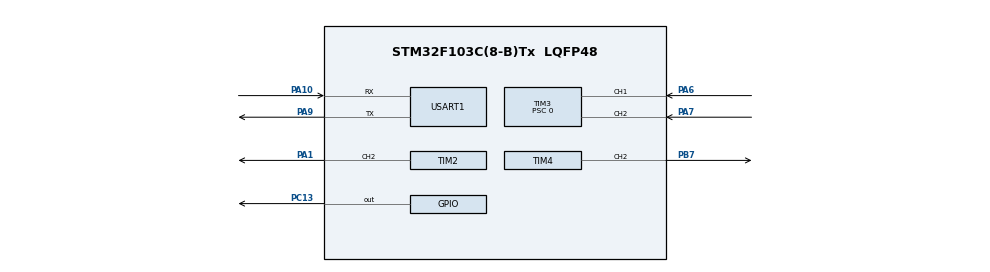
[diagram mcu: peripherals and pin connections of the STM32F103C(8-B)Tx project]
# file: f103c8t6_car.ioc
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Dma.Request0=TIM4_CH2
Dma.Request1=USART1_RX
Dma.Request2=TIM2_CH2/CH4
Dma.TIM2_CH2/CH4.2.Direction=DMA_MEMORY_TO_PERIPH
Dma.TIM2_CH2/CH4.2.Instance=DMA1_Channel7
Dma.TIM2_CH2/CH4.2.MemDataAlignment=DMA_MDATAALIGN_BYTE
Dma.TIM2_CH2/CH4.2.MemInc=DMA_MINC_ENABLE
Dma.TIM2_CH2/CH4.2.Mode=DMA_NORMAL
Dma.TIM2_CH2/CH4.2.PeriphDataAlignment=DMA_PDATAALIGN_HALFWORD
Dma.TIM2_CH2/CH4.2.PeriphInc=DMA_PINC_DISABLE
Dma.TIM2_CH2/CH4.2.Priority=DMA_PRIORITY_HIGH
Dma.TIM4_CH2.0.Direction=DMA_MEMORY_TO_PERIPH
Dma.TIM4_CH2.0.Instance=DMA1_Channel4
Dma.TIM4_CH2.0.MemDataAlignment=DMA_MDATAALIGN_BYTE
Dma.TIM4_CH2.0.MemInc=DMA_MINC_ENABLE
Dma.TIM4_CH2.0.Mode=DMA_NORMAL
Dma.TIM4_CH2.0.PeriphDataAlignment=DMA_PDATAALIGN_HALFWORD
Dma.TIM4_CH2.0.PeriphInc=DMA_PINC_DISABLE
Dma.TIM4_CH2.0.Priority=DMA_PRIORITY_HIGH
Dma.USART1_RX.1.Direction=DMA_PERIPH_TO_MEMORY
Dma.USART1_RX.1.Instance=DMA1_Channel5
Dma.USART1_RX.1.MemDataAlignment=DMA_MDATAALIGN_BYTE
Dma.USART1_RX.1.MemInc=DMA_MINC_ENABLE
Dma.USART1_RX.1.Mode=DMA_NORMAL
Dma.USART1_RX.1.PeriphDataAlignment=DMA_PDATAALIGN_BYTE
Dma.USART1_RX.1.PeriphInc=DMA_PINC_DISABLE
Dma.USART1_RX.1.Priority=DMA_PRIORITY_MEDIUM
FREERTOS.BinarySemaphores01=serialSem,Dynamic,NULL
FREERTOS.Tasks01=DefaultTask,0,128,startDefaultTask,Default,NULL,Dynamic,NULL,NULL;MotorTask,-3,128,startMotorTask,Default,NULL,Dynamic,NULL,NULL;MonitorTask,-3,128,startMonitorTask,Default,NULL,Dynamic,NULL,NULL;EncoderTask,-3,128,startEncoderTask,Default,NULL,Dynamic,NULL,NULL
FREERTOS.configTOTAL_HEAP_SIZE=5000
Mcu.Family=STM32F1
Mcu.Name=STM32F103C(8-B)Tx
Mcu.Package=LQFP48
NVIC.DMA1_Channel4_IRQn=true\:5\:0\:false\:false\:true\:true\:false
NVIC.DMA1_Channel5_IRQn=true\:5\:0\:false\:false\:true\:true\:false
NVIC.DMA1_Channel7_IRQn=true\:5\:0\:false\:false\:true\:true\:false
NVIC.PriorityGroup=NVIC_PRIORITYGROUP_4
NVIC.TIM2_IRQn=true\:5\:0\:true\:false\:true\:true\:true
NVIC.USART1_IRQn=true\:5\:0\:false\:false\:true\:true\:true
PA1.Signal=S_TIM2_CH2
PA10.Mode=Asynchronous
PA10.Signal=USART1_RX
PA13.Mode=Serial_Wire
PA13.Signal=SYS_JTMS-SWDIO
PA14.Mode=Serial_Wire
PA14.Signal=SYS_JTCK-SWCLK
PA6.Signal=S_TIM3_CH1
PA7.Signal=S_TIM3_CH2
PA9.Mode=Asynchronous
PA9.Signal=USART1_TX
PB7.GPIO_Speed=GPIO_SPEED_FREQ_HIGH
PB7.Signal=S_TIM4_CH2
PC13-TAMPER-RTC.GPIO_PuPd=GPIO_PULLUP
PC13-TAMPER-RTC.GPIO_Speed=GPIO_SPEED_FREQ_HIGH
PC13-TAMPER-RTC.PinState=GPIO_PIN_SET
PC13-TAMPER-RTC.Signal=GPIO_Output
PD0-OSC_IN.Mode=HSE-External-Oscillator
PD0-OSC_IN.Signal=RCC_OSC_IN
PD1-OSC_OUT.Mode=HSE-External-Oscillator
PD1-OSC_OUT.Signal=RCC_OSC_OUT
ProjectManager.HeapSize=0x200
ProjectManager.StackSize=0x400
ProjectManager.TargetToolchain=SW4STM32
RCC.AHBFreq_Value=72000000
RCC.APB1CLKDivider=RCC_HCLK_DIV2
RCC.APB1Freq_Value=36000000
RCC.APB1TimFreq_Value=72000000
RCC.APB2Freq_Value=72000000
RCC.APB2TimFreq_Value=72000000
RCC.HCLKFreq_Value=72000000
RCC.PLLMUL=RCC_PLL_MUL9
RCC.PLLSourceVirtual=RCC_PLLSOURCE_HSE
RCC.SYSCLKFreq_VALUE=72000000
RCC.SYSCLKSource=RCC_SYSCLKSOURCE_PLLCLK
RCC.USBFreq_Value=72000000
SH.S_TIM2_CH2.0=TIM2_CH2,PWM Generation2 CH2
SH.S_TIM3_CH1.0=TIM3_CH1,Encoder_Interface
SH.S_TIM3_CH2.0=TIM3_CH2,Encoder_Interface
SH.S_TIM4_CH2.0=TIM4_CH2,PWM Generation2 CH2
TIM2.AutoReloadPreload=TIM_AUTORELOAD_PRELOAD_DISABLE
TIM2.Channel-PWM\ Generation2\ CH2=TIM_CHANNEL_2
TIM2.OCPolarity_2=TIM_OCPOLARITY_LOW
TIM2.Period=10000
TIM2.Prescaler=7199
TIM2.Pulse-PWM\ Generation2\ CH2=0
TIM3.EncoderMode=TIM_ENCODERMODE_TI12
TIM3.IC1Filter=10
TIM3.IC2Filter=10
TIM3.Period=0xffff
TIM3.Prescaler=0
TIM4.Channel-PWM\ Generation2\ CH2=TIM_CHANNEL_2
TIM4.Period=89
TIM4.TIM_MasterOutputTrigger=TIM_TRGO_UPDATE
USART1.VirtualMode=VM_ASYNC
VP_FREERTOS_VS_ENABLE.Mode=Enabled
VP_TIM2_VS_ClockSourceINT.Mode=Internal
board=custom

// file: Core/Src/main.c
/**
  ******************************************************************************
  * @file           : main.c
  * @brief          : Main program body
  ******************************************************************************
  * This notice applies to any and all portions of this file
  * that are not between comment pairs USER CODE BEGIN and
  * USER CODE END. Other portions of this file, whether
  * inserted by the user or by software development tools
  * are owned by their respective copyright owners.
  *
  * Copyright (c) 2018 STMicroelectronics International N.V.
  * All rights reserved.
  *
  * Redistribution and use in source and binary forms, with or without
  * modification, are permitted, provided that the following conditions are met:
  *
  * 1. Redistribution of source code must retain the above copyright notice,
  *    this list of conditions and the following disclaimer.
  * 2. Redistributions in binary form must reproduce the above copyright notice,
  *    this list of conditions and the following disclaimer in the documentation
  *    and/or other materials provided with the distribution.
  * 3. Neither the name of STMicroelectronics nor the names of other
  *    contributors to this software may be used to endorse or promote products
  *    derived from this software without specific written permission.
  * 4. This software, including modifications and/or derivative works of this
  *    software, must execute solely and exclusively on microcontroller or
  *    microprocessor devices manufactured by or for STMicroelectronics.
  * 5. Redistribution and use of this software other than as permitted under
  *    this license is void and will automatically terminate your rights under
  *    this license.
  *
  * THIS SOFTWARE IS PROVIDED BY STMICROELECTRONICS AND CONTRIBUTORS "AS IS"
  * AND ANY EXPRESS, IMPLIED OR STATUTORY WARRANTIES, INCLUDING, BUT NOT
  * LIMITED TO, THE IMPLIED WARRANTIES OF MERCHANTABILITY, FITNESS FOR A
  * PARTICULAR PURPOSE AND NON-INFRINGEMENT OF THIRD PARTY INTELLECTUAL PROPERTY
  * RIGHTS ARE DISCLAIMED TO THE FULLEST EXTENT PERMITTED BY LAW. IN NO EVENT
  * SHALL STMICROELECTRONICS OR CONTRIBUTORS BE LIABLE FOR ANY DIRECT, INDIRECT,
  * INCIDENTAL, SPECIAL, EXEMPLARY, OR CONSEQUENTIAL DAMAGES (INCLUDING, BUT NOT
  * LIMITED TO, PROCUREMENT OF SUBSTITUTE GOODS OR SERVICES; LOSS OF USE, DATA,
  * OR PROFITS; OR BUSINESS INTERRUPTION) HOWEVER CAUSED AND ON ANY THEORY OF
  * LIABILITY, WHETHER IN CONTRACT, STRICT LIABILITY, OR TORT (INCLUDING
  * NEGLIGENCE OR OTHERWISE) ARISING IN ANY WAY OUT OF THE USE OF THIS SOFTWARE,
  * EVEN IF ADVISED OF THE POSSIBILITY OF SUCH DAMAGE.
  *
  ******************************************************************************
  */
#include "main.h"
#include "cmsis_os.h"
#include "dma.h"
#include "tim.h"
#include "usart.h"
#include "gpio.h"

/* USER CODE BEGIN PV */
/* Private variables ---------------------------------------------------------*/

/* USER CODE END PV */

static void LL_Init(void);
void SystemClock_Config(void);
void MX_FREERTOS_Init(void);

/* USER CODE BEGIN PFP */
/* Private function prototypes -----------------------------------------------*/

/* USER CODE END PFP */

int main(void)
{

  /* MCU Configuration----------------------------------------------------------*/

  /* Reset of all peripherals, Initializes the Flash interface and the Systick. */
  LL_Init();

  /* Configure the system clock */
  SystemClock_Config();

  /* Initialize all configured peripherals */
  MX_GPIO_Init();
  MX_DMA_Init();
  MX_TIM2_Init();
  MX_USART1_UART_Init();
  MX_TIM3_Init();
  MX_TIM4_Init();
  /* USER CODE BEGIN 2 */
	user_tim2Init();
	user_tim3Init();
	user_tim4Init();
	user_usartInit();
	user_dmaInit();

  /* USER CODE END 2 */

  /* Call init function for freertos objects (in freertos.c) */
  MX_FREERTOS_Init();

  /* Start scheduler */
  osKernelStart();

  /* We should never get here as control is now taken by the scheduler */

  /* Infinite loop */
	while (1) {

	}

}
static void LL_Init(void)
{

  LL_APB2_GRP1_EnableClock(LL_APB2_GRP1_PERIPH_AFIO);
  LL_APB1_GRP1_EnableClock(LL_APB1_GRP1_PERIPH_PWR);

  NVIC_SetPriorityGrouping(NVIC_PRIORITYGROUP_4);

  /* System interrupt init*/
  /* MemoryManagement_IRQn interrupt configuration */
  NVIC_SetPriority(MemoryManagement_IRQn, NVIC_EncodePriority(NVIC_GetPriorityGrouping(),0, 0));
  /* BusFault_IRQn interrupt configuration */
  NVIC_SetPriority(BusFault_IRQn, NVIC_EncodePriority(NVIC_GetPriorityGrouping(),0, 0));
  /* UsageFault_IRQn interrupt configuration */
  NVIC_SetPriority(UsageFault_IRQn, NVIC_EncodePriority(NVIC_GetPriorityGrouping(),0, 0));
  /* SVCall_IRQn interrupt configuration */
  NVIC_SetPriority(SVCall_IRQn, NVIC_EncodePriority(NVIC_GetPriorityGrouping(),0, 0));
  /* DebugMonitor_IRQn interrupt configuration */
  NVIC_SetPriority(DebugMonitor_IRQn, NVIC_EncodePriority(NVIC_GetPriorityGrouping(),0, 0));
  /* PendSV_IRQn interrupt configuration */
  NVIC_SetPriority(PendSV_IRQn, NVIC_EncodePriority(NVIC_GetPriorityGrouping(),15, 0));
  /* SysTick_IRQn interrupt configuration */
  NVIC_SetPriority(SysTick_IRQn, NVIC_EncodePriority(NVIC_GetPriorityGrouping(),15, 0));

    /**NOJTAG: JTAG-DP Disabled and SW-DP Enabled
    */
  LL_GPIO_AF_Remap_SWJ_NOJTAG();

}

void SystemClock_Config(void)
{

  LL_FLASH_SetLatency(LL_FLASH_LATENCY_2);

   if(LL_FLASH_GetLatency() != LL_FLASH_LATENCY_2)
  {
    Error_Handler();
  }
  LL_RCC_HSE_Enable();

   /* Wait till HSE is ready */
  while(LL_RCC_HSE_IsReady() != 1)
  {

  }
  LL_RCC_PLL_ConfigDomain_SYS(LL_RCC_PLLSOURCE_HSE_DIV_1, LL_RCC_PLL_MUL_9);

  LL_RCC_PLL_Enable();

   /* Wait till PLL is ready */
  while(LL_RCC_PLL_IsReady() != 1)
  {

  }
  LL_RCC_SetAHBPrescaler(LL_RCC_SYSCLK_DIV_1);

  LL_RCC_SetAPB1Prescaler(LL_RCC_APB1_DIV_2);

  LL_RCC_SetAPB2Prescaler(LL_RCC_APB2_DIV_1);

  LL_RCC_SetSysClkSource(LL_RCC_SYS_CLKSOURCE_PLL);

   /* Wait till System clock is ready */
  while(LL_RCC_GetSysClkSource() != LL_RCC_SYS_CLKSOURCE_STATUS_PLL)
  {

  }
  LL_Init1msTick(72000000);

  LL_SYSTICK_SetClkSource(LL_SYSTICK_CLKSOURCE_HCLK);

  LL_SetSystemCoreClock(72000000);

  /* SysTick_IRQn interrupt configuration */
  NVIC_SetPriority(SysTick_IRQn, NVIC_EncodePriority(NVIC_GetPriorityGrouping(),15, 0));
}

void _Error_Handler(char *file, int line)
{
	while (1) {
	}
}

/************************ (C) COPYRIGHT STMicroelectronics *****END OF FILE****/

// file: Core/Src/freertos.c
/* USER CODE BEGIN Header */
/**
 ******************************************************************************
 * File Name          : freertos.c
 * Description        : Code for freertos applications
 ******************************************************************************
 * This notice applies to any and all portions of this file
 * that are not between comment pairs USER CODE BEGIN and
 * USER CODE END. Other portions of this file, whether
 * inserted by the user or by software development tools
 * are owned by their respective copyright owners.
 *
 * Copyright (c) 2018 STMicroelectronics International N.V.
 * All rights reserved.
 *
 * Redistribution and use in source and binary forms, with or without
 * modification, are permitted, provided that the following conditions are met:
 *
 * 1. Redistribution of source code must retain the above copyright notice,
 *    this list of conditions and the following disclaimer.
 * 2. Redistributions in binary form must reproduce the above copyright notice,
 *    this list of conditions and the following disclaimer in the documentation
 *    and/or other materials provided with the distribution.
 * 3. Neither the name of STMicroelectronics nor the names of other
 *    contributors to this software may be used to endorse or promote products
 *    derived from this software without specific written permission.
 * 4. This software, including modifications and/or derivative works of this
 *    software, must execute solely and exclusively on microcontroller or
 *    microprocessor devices manufactured by or for STMicroelectronics.
 * 5. Redistribution and use of this software other than as permitted under
 *    this license is void and will automatically terminate your rights under
 *    this license.
 *
 * THIS SOFTWARE IS PROVIDED BY STMICROELECTRONICS AND CONTRIBUTORS "AS IS"
 * AND ANY EXPRESS, IMPLIED OR STATUTORY WARRANTIES, INCLUDING, BUT NOT
 * LIMITED TO, THE IMPLIED WARRANTIES OF MERCHANTABILITY, FITNESS FOR A
 * PARTICULAR PURPOSE AND NON-INFRINGEMENT OF THIRD PARTY INTELLECTUAL PROPERTY
 * RIGHTS ARE DISCLAIMED TO THE FULLEST EXTENT PERMITTED BY LAW. IN NO EVENT
 * SHALL STMICROELECTRONICS OR CONTRIBUTORS BE LIABLE FOR ANY DIRECT, INDIRECT,
 * INCIDENTAL, SPECIAL, EXEMPLARY, OR CONSEQUENTIAL DAMAGES (INCLUDING, BUT NOT
 * LIMITED TO, PROCUREMENT OF SUBSTITUTE GOODS OR SERVICES; LOSS OF USE, DATA,
 * OR PROFITS; OR BUSINESS INTERRUPTION) HOWEVER CAUSED AND ON ANY THEORY OF
 * LIABILITY, WHETHER IN CONTRACT, STRICT LIABILITY, OR TORT (INCLUDING
 * NEGLIGENCE OR OTHERWISE) ARISING IN ANY WAY OUT OF THE USE OF THIS SOFTWARE,
 * EVEN IF ADVISED OF THE POSSIBILITY OF SUCH DAMAGE.
 *
 ******************************************************************************
 */
/* USER CODE END Header */

#include "FreeRTOS.h"
#include "task.h"
#include "main.h"
#include "cmsis_os.h"

/* USER CODE BEGIN Includes */
#include "ws2812b.h"

/* USER CODE END Includes */

/* USER CODE BEGIN PD */
//7
/* USER CODE END PD */

osThreadId DefaultTaskHandle;
osThreadId MotorTaskHandle;
osThreadId MonitorTaskHandle;
osThreadId EncoderTaskHandle;
osSemaphoreId serialSemHandle;

void startDefaultTask(void const * argument);
void startMotorTask(void const * argument);
void startMonitorTask(void const * argument);
void startEncoderTask(void const * argument);

void MX_FREERTOS_Init(void); /* (MISRA C 2004 rule 8.1) */

void MX_FREERTOS_Init(void) {

	/* Create the semaphores(s) */
	/* definition and creation of serialSem */
	osSemaphoreDef(serialSem);
	serialSemHandle = osSemaphoreCreate(osSemaphore(serialSem), 1);

	/* Create the thread(s) */
	/* definition and creation of DefaultTask */
	osThreadDef(DefaultTask, startDefaultTask, osPriorityNormal, 0, 128);
	DefaultTaskHandle = osThreadCreate(osThread(DefaultTask), NULL);

	/* definition and creation of MotorTask */
	osThreadDef(MotorTask, startMotorTask, osPriorityIdle, 0, 128);
	MotorTaskHandle = osThreadCreate(osThread(MotorTask), NULL);

	/* definition and creation of MonitorTask */
	osThreadDef(MonitorTask, startMonitorTask, osPriorityIdle, 0, 128);
	MonitorTaskHandle = osThreadCreate(osThread(MonitorTask), NULL);

	/* definition and creation of EncoderTask */
	osThreadDef(EncoderTask, startEncoderTask, osPriorityIdle, 0, 128);
	EncoderTaskHandle = osThreadCreate(osThread(EncoderTask), NULL);

}

void startDefaultTask(void const * argument) {

	/* USER CODE BEGIN startDefaultTask */
	/* Infinite loop */
	for (;;) {
		//		LL_TIM_GetCounter(TIM3);
		osDelay(1000);
	}
	/* USER CODE END startDefaultTask */
}

void startMotorTask(void const * argument) {
	/* USER CODE BEGIN startMotorTask */
	/* Infinite loop */
	for (;;) {
		//		LL_TIM_OC_SetCompareCH2(TIM2, 2400);
		//		osDelay(2000);
		//		LL_TIM_OC_SetCompareCH2(TIM2, 3600);
		//		osDelay(2000);
		LL_TIM_OC_SetCompareCH2(TIM2, 4800);
		osDelay(4000);
		LL_TIM_OC_SetCompareCH2(TIM2, 7200);
		osDelay(4000);
	}
	/* USER CODE END startMotorTask */
}

void startMonitorTask(void const * argument) {
	/* USER CODE BEGIN startMonitorTask */
	/* Infinite loop */
	volatile uint32_t encode = 0;
	for (;;) {
		encode = LL_TIM_GetCounter(TIM2);
		LL_TIM_SetCounter(TIM2, 0);

//		osSemaphoreWait(serialSemHandle, portMAX_DELAY);
//		printf("TIM2 encode: %lu\n", encode);
//		osSemaphoreRelease(serialSemHandle);

		osDelay(250);
	}
	/* USER CODE END startMonitorTask */
}

void startEncoderTask(void const * argument) {
	/* USER CODE BEGIN startEncoderTask */
	/* Infinite loop */
	volatile uint32_t cnt = 0;
	for (;;) {
		cnt = LL_TIM_GetCounter(TIM3);
		LL_TIM_SetCounter(TIM3, 0);

//		osSemaphoreWait(serialSemHandle, portMAX_DELAY);
		printf("TIM3->CNT: %lu\n", cnt);
//		osSemaphoreRelease(serialSemHandle);

		osDelay(250);
	}
	/* USER CODE END startEncoderTask */
}

/* USER CODE BEGIN Application */
/**************************************************************************
 function: car motion model
 param: velocity, angle
 **************************************************************************/
void Kinematic_Analysis(float velocity, float angle) {
	//	Target_A = velocity * (1 + T * tan(angle) / 2 / L);
	//	Target_B = velocity * (1 - T * tan(angle) / 2 / L);      //鍚庤疆宸拷??
	//	Servo = SERVO_INIT + angle * K;                    //鑸垫�??杞�??
}
/* USER CODE END Application */

/************************ (C) COPYRIGHT STMicroelectronics *****END OF FILE****/
